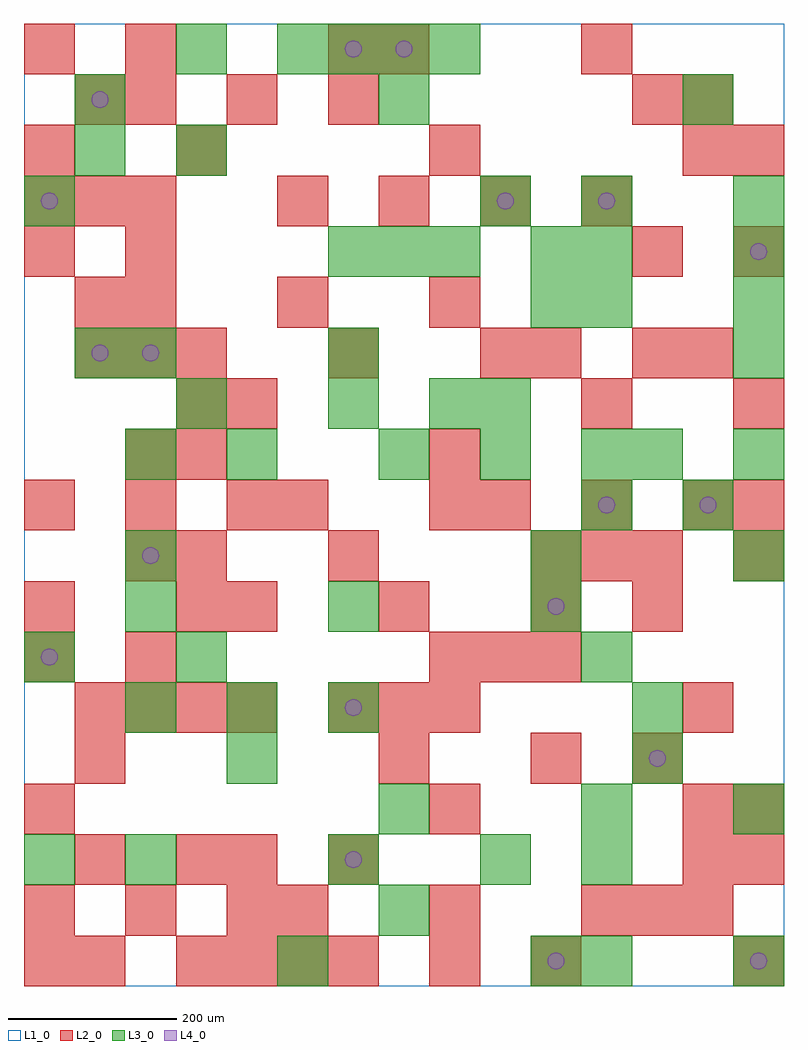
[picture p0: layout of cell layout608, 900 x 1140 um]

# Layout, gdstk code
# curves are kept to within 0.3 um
import gdstk
lib = gdstk.Library(unit=1e-6, precision=1e-09)
def R(c, l, rs):  # rectangles x0, y0, x1, y1
    for r in rs: c.add(gdstk.rectangle(r[:2], r[2:], *l))
def A(c, l, x, y, w, h, nx, ny, dx, dy):  # array of equal rectangles
    R(c, l, [(x+i*dx, y+j*dy, x+i*dx+w, y+j*dy+h) for i in range(nx) for j in range(ny)])
def P(c, l, *ps):  # polygons
    for p in ps: c.add(gdstk.Polygon(p, *l))
L1_0 = (1, 0)
L2_0 = (2, 0)
L3_0 = (3, 0)
L4_0 = (4, 0)

layout608 = lib.new_cell('layout608')
R(layout608, L1_0, [(0,0,900,1140)])
A(layout608, L2_0, 0, 0, 60, 60, 1, 3, 0, 180)
A(layout608, L2_0, 60, 0, 60, 60, 1, 3, 0, 120)
A(layout608, L2_0, 180, 0, 60, 60, 4, 1, 60, 0)
A(layout608, L2_0, 0, 60, 60, 60, 3, 2, 120, 480)
A(layout608, L2_0, 300, 60, 60, 60, 3, 1, 180, 0)
A(layout608, L2_0, 720, 60, 60, 60, 1, 3, 0, 180)
A(layout608, L2_0, 780, 60, 60, 60, 1, 3, 0, 60)
A(layout608, L2_0, 60, 300, 60, 60, 4, 1, 60, 0)
A(layout608, L2_0, 360, 300, 60, 60, 3, 1, 60, 0)
A(layout608, L2_0, 120, 360, 60, 60, 1, 3, 0, 120)
A(layout608, L2_0, 480, 360, 60, 60, 3, 1, 60, 0)
A(layout608, L2_0, 240, 420, 60, 60, 3, 1, 180, 0)
A(layout608, L2_0, 600, 480, 60, 60, 3, 1, 60, 0)
A(layout608, L2_0, 540, 540, 60, 60, 3, 1, 120, 0)
A(layout608, L2_0, 60, 720, 60, 60, 3, 1, 60, 0)
A(layout608, L2_0, 120, 780, 60, 60, 3, 1, 180, 0)
A(layout608, L2_0, 0, 840, 60, 60, 1, 3, 0, 120)
A(layout608, L2_0, 0, 900, 60, 60, 3, 1, 60, 0)
A(layout608, L2_0, 300, 900, 60, 60, 4, 1, 120, 0)
A(layout608, L2_0, 180, 960, 60, 60, 3, 1, 300, 0)
A(layout608, L2_0, 120, 1020, 60, 60, 3, 1, 120, 0)
R(layout608, L2_0, [(480,0,540,60), (600,0,660,60), (840,0,900,60), (180,120,240,180), (240,120,300,180), (360,120,420,180), (840,120,900,180), (480,180,540,240), (840,180,900,240), (420,240,480,300), (600,240,660,300), (780,300,840,360), (0,420,60,480), (180,420,240,480), (180,480,240,540), (360,480,420,540), (840,480,900,540), (300,540,360,600), (480,540,540,600), (840,540,900,600), (180,600,240,660), (480,600,540,660), (180,660,240,720), (240,660,300,720), (660,660,720,720), (840,660,900,720), (360,720,420,780), (540,720,600,780), (600,720,660,780), (720,720,780,780), (780,720,840,780), (60,780,120,840), (120,840,180,900), (720,840,780,900), (840,840,900,900), (840,960,900,1020), (60,1020,120,1080), (720,1020,780,1080), (780,1020,840,1080), (120,1080,180,1140), (360,1080,420,1140), (420,1080,480,1140), (660,1080,720,1140)])
A(layout608, L3_0, 660, 180, 60, 60, 1, 3, 0, 180)
A(layout608, L3_0, 120, 300, 60, 60, 3, 1, 120, 0)
A(layout608, L3_0, 180, 360, 60, 60, 1, 3, 0, 300)
A(layout608, L3_0, 120, 420, 60, 60, 3, 1, 240, 0)
A(layout608, L3_0, 120, 480, 60, 60, 1, 3, 0, 120)
A(layout608, L3_0, 840, 480, 60, 60, 1, 3, 0, 120)
A(layout608, L3_0, 420, 600, 60, 60, 3, 1, 120, 0)
A(layout608, L3_0, 660, 780, 60, 60, 1, 3, 0, 60)
A(layout608, L3_0, 840, 780, 60, 60, 1, 3, 0, 60)
A(layout608, L3_0, 360, 840, 60, 60, 3, 1, 60, 0)
A(layout608, L3_0, 60, 1020, 60, 60, 3, 1, 360, 0)
A(layout608, L3_0, 300, 1080, 60, 60, 4, 1, 60, 0)
R(layout608, L3_0, [(300,0,360,60), (600,0,660,60), (660,0,720,60), (840,0,900,60), (420,60,480,120), (0,120,60,180), (120,120,180,180), (360,120,420,180), (540,120,600,180), (660,120,720,180), (420,180,480,240), (840,180,900,240), (240,240,300,300), (720,240,780,300), (720,300,780,360), (0,360,60,420), (600,480,660,540), (780,540,840,600), (240,600,300,660), (720,600,780,660), (360,660,420,720), (480,660,540,720), (540,660,600,720), (60,720,120,780), (360,720,420,780), (600,780,660,840), (600,840,660,900), (0,900,60,960), (540,900,600,960), (60,960,120,1020), (180,1080,240,1140)])
P(layout608, L4_0, [(40,390),(39.239,393.827),(37.071,397.071),(33.827,399.239),(30,400),(26.173,399.239),(22.929,397.071),(20.761,393.827),(20,390),(20.761,386.173),(22.929,382.929),(26.173,380.761),(30,380),(33.827,380.761),(37.071,382.929),(39.239,386.173)],
  [(40,930),(39.239,933.827),(37.071,937.071),(33.827,939.239),(30,940),(26.173,939.239),(22.929,937.071),(20.761,933.827),(20,930),(20.761,926.173),(22.929,922.929),(26.173,920.761),(30,920),(33.827,920.761),(37.071,922.929),(39.239,926.173)],
  [(100,750),(99.239,753.827),(97.071,757.071),(93.827,759.239),(90,760),(86.173,759.239),(82.929,757.071),(80.761,753.827),(80,750),(80.761,746.173),(82.929,742.929),(86.173,740.761),(90,740),(93.827,740.761),(97.071,742.929),(99.239,746.173)],
  [(100,1050),(99.239,1053.827),(97.071,1057.071),(93.827,1059.239),(90,1060),(86.173,1059.239),(82.929,1057.071),(80.761,1053.827),(80,1050),(80.761,1046.173),(82.929,1042.929),(86.173,1040.761),(90,1040),(93.827,1040.761),(97.071,1042.929),(99.239,1046.173)],
  [(160,510),(159.239,513.827),(157.071,517.071),(153.827,519.239),(150,520),(146.173,519.239),(142.929,517.071),(140.761,513.827),(140,510),(140.761,506.173),(142.929,502.929),(146.173,500.761),(150,500),(153.827,500.761),(157.071,502.929),(159.239,506.173)],
  [(160,750),(159.239,753.827),(157.071,757.071),(153.827,759.239),(150,760),(146.173,759.239),(142.929,757.071),(140.761,753.827),(140,750),(140.761,746.173),(142.929,742.929),(146.173,740.761),(150,740),(153.827,740.761),(157.071,742.929),(159.239,746.173)],
  [(400,150),(399.239,153.827),(397.071,157.071),(393.827,159.239),(390,160),(386.173,159.239),(382.929,157.071),(380.761,153.827),(380,150),(380.761,146.173),(382.929,142.929),(386.173,140.761),(390,140),(393.827,140.761),(397.071,142.929),(399.239,146.173)],
  [(400,330),(399.239,333.827),(397.071,337.071),(393.827,339.239),(390,340),(386.173,339.239),(382.929,337.071),(380.761,333.827),(380,330),(380.761,326.173),(382.929,322.929),(386.173,320.761),(390,320),(393.827,320.761),(397.071,322.929),(399.239,326.173)],
  [(400,1110),(399.239,1113.827),(397.071,1117.071),(393.827,1119.239),(390,1120),(386.173,1119.239),(382.929,1117.071),(380.761,1113.827),(380,1110),(380.761,1106.173),(382.929,1102.929),(386.173,1100.761),(390,1100),(393.827,1100.761),(397.071,1102.929),(399.239,1106.173)],
  [(460,1110),(459.239,1113.827),(457.071,1117.071),(453.827,1119.239),(450,1120),(446.173,1119.239),(442.929,1117.071),(440.761,1113.827),(440,1110),(440.761,1106.173),(442.929,1102.929),(446.173,1100.761),(450,1100),(453.827,1100.761),(457.071,1102.929),(459.239,1106.173)],
  [(580,930),(579.239,933.827),(577.071,937.071),(573.827,939.239),(570,940),(566.173,939.239),(562.929,937.071),(560.761,933.827),(560,930),(560.761,926.173),(562.929,922.929),(566.173,920.761),(570,920),(573.827,920.761),(577.071,922.929),(579.239,926.173)],
  [(640,30),(639.239,33.827),(637.071,37.071),(633.827,39.239),(630,40),(626.173,39.239),(622.929,37.071),(620.761,33.827),(620,30),(620.761,26.173),(622.929,22.929),(626.173,20.761),(630,20),(633.827,20.761),(637.071,22.929),(639.239,26.173)],
  [(640,450),(639.239,453.827),(637.071,457.071),(633.827,459.239),(630,460),(626.173,459.239),(622.929,457.071),(620.761,453.827),(620,450),(620.761,446.173),(622.929,442.929),(626.173,440.761),(630,440),(633.827,440.761),(637.071,442.929),(639.239,446.173)],
  [(700,570),(699.239,573.827),(697.071,577.071),(693.827,579.239),(690,580),(686.173,579.239),(682.929,577.071),(680.761,573.827),(680,570),(680.761,566.173),(682.929,562.929),(686.173,560.761),(690,560),(693.827,560.761),(697.071,562.929),(699.239,566.173)],
  [(700,930),(699.239,933.827),(697.071,937.071),(693.827,939.239),(690,940),(686.173,939.239),(682.929,937.071),(680.761,933.827),(680,930),(680.761,926.173),(682.929,922.929),(686.173,920.761),(690,920),(693.827,920.761),(697.071,922.929),(699.239,926.173)],
  [(760,270),(759.239,273.827),(757.071,277.071),(753.827,279.239),(750,280),(746.173,279.239),(742.929,277.071),(740.761,273.827),(740,270),(740.761,266.173),(742.929,262.929),(746.173,260.761),(750,260),(753.827,260.761),(757.071,262.929),(759.239,266.173)],
  [(820,570),(819.239,573.827),(817.071,577.071),(813.827,579.239),(810,580),(806.173,579.239),(802.929,577.071),(800.761,573.827),(800,570),(800.761,566.173),(802.929,562.929),(806.173,560.761),(810,560),(813.827,560.761),(817.071,562.929),(819.239,566.173)],
  [(880,30),(879.239,33.827),(877.071,37.071),(873.827,39.239),(870,40),(866.173,39.239),(862.929,37.071),(860.761,33.827),(860,30),(860.761,26.173),(862.929,22.929),(866.173,20.761),(870,20),(873.827,20.761),(877.071,22.929),(879.239,26.173)],
  [(880,870),(879.239,873.827),(877.071,877.071),(873.827,879.239),(870,880),(866.173,879.239),(862.929,877.071),(860.761,873.827),(860,870),(860.761,866.173),(862.929,862.929),(866.173,860.761),(870,860),(873.827,860.761),(877.071,862.929),(879.239,866.173)])

lib.write_gds('layout608.gds')
